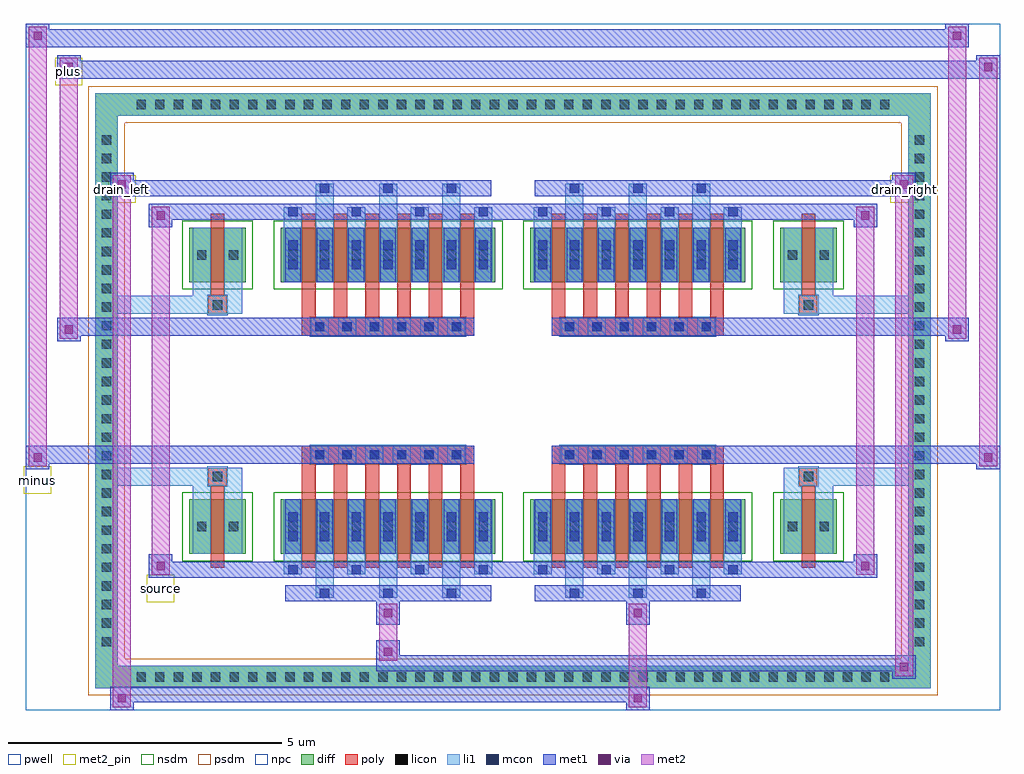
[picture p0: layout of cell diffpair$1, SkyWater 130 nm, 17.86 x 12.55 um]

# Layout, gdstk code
import gdstk
lib = gdstk.Library(unit=1e-6, precision=5e-09)
def R(c, l, rs):  # rectangles x0, y0, x1, y1
    for r in rs: c.add(gdstk.rectangle(r[:2], r[2:], *l))
def A(c, l, x, y, w, h, nx, ny, dx, dy):  # array of equal rectangles
    R(c, l, [(x+i*dx, y+j*dy, x+i*dx+w, y+j*dy+h) for i in range(nx) for j in range(ny)])
def P(c, l, *ps):  # polygons
    for p in ps: c.add(gdstk.Polygon(p, *l))
pwell = (64, 44)
diff = (65, 20)
poly = (66, 20)
licon = (66, 44)
li1 = (67, 20)
mcon = (67, 44)
met1 = (68, 20)
via = (68, 44)
met2_pin = (69, 16)
met2 = (69, 20)
nsdm = (93, 44)
psdm = (94, 20)
npc = (95, 20)

diffpair_1 = lib.new_cell('diffpair$1')
R(diffpair_1, pwell, [(-8.91,-5.84,8.91,6.71), (-6.23,-4.03,-0.01,-0.805), (0.01,-4.03,6.23,-0.805), (-6.23,0.805,-0.01,4.03), (0.01,0.805,6.23,4.03)])
A(diffpair_1, diff, -7.005, -5.44, 0.41, 0.41, 41, 2, 0.34, 10.47)
A(diffpair_1, diff, -7.64, -4.795, 0.41, 0.41, 1, 28, 0, 0.34)
A(diffpair_1, diff, 7.23, -4.795, 0.41, 0.41, 1, 28, 0, 0.34)
R(diffpair_1, diff, [(-7.005,-5.44,7.005,-5.03), (-7.64,-4.795,-7.23,4.795), (7.23,-4.795,7.64,4.795), (-5.92,-2.985,-4.89,-1.985), (-4.25,-2.985,-0.32,-1.985), (0.32,-2.985,4.25,-1.985), (4.89,-2.985,5.92,-1.985), (-5.92,1.985,-4.89,2.985), (-4.25,1.985,-0.32,2.985), (0.32,1.985,4.25,2.985), (4.89,1.985,5.92,2.985), (-7.005,5.03,7.005,5.44)])
P(diffpair_1, diff, [(7.64,5.44),(-7.64,5.44),(-7.64,-5.03),(-7.23,-5.03),(-7.23,5.03),(7.23,5.03),(7.23,-5.03),(-7.23,-5.03),(-7.64,-5.03),(-7.64,-5.44),(7.64,-5.44)])
A(diffpair_1, poly, -3.86, -3.235, 0.25, 1.5, 6, 2, 0.58, 4.97)
A(diffpair_1, poly, 0.71, -3.235, 0.25, 1.5, 6, 2, 0.58, 4.97)
A(diffpair_1, poly, -3.86, -1.735, 0.25, 0.4, 6, 2, 0.58, 3.07)
A(diffpair_1, poly, 0.71, -1.735, 0.25, 0.4, 6, 2, 0.58, 3.07)
A(diffpair_1, poly, -3.7, -1.335, 0.33, 0.33, 6, 2, 0.5, 2.34)
A(diffpair_1, poly, 0.87, -1.335, 0.33, 0.33, 6, 2, 0.5, 2.34)
R(diffpair_1, poly, [(-5.53,-3.235,-5.28,-1.735), (5.28,-3.235,5.53,-1.735), (-5.57,-1.735,-5.24,-1.405), (-5.57,-1.735,-5.24,-1.405), (5.24,-1.735,5.57,-1.405), (5.24,-1.735,5.57,-1.405), (-3.86,-1.335,-0.71,-1.005), (0.71,-1.335,3.86,-1.005), (-3.86,1.005,-0.71,1.335), (0.71,1.005,3.86,1.335), (-5.57,1.405,-5.24,1.735), (-5.57,1.405,-5.24,1.735), (5.24,1.405,5.57,1.735), (5.24,1.405,5.57,1.735), (-5.53,1.735,-5.28,3.235), (5.28,1.735,5.53,3.235)])
A(diffpair_1, licon, -6.885, -5.32, 0.17, 0.17, 41, 2, 0.34, 10.47)
A(diffpair_1, licon, -7.52, -4.675, 0.17, 0.17, 1, 28, 0, 0.34)
A(diffpair_1, licon, 7.35, -4.675, 0.17, 0.17, 1, 28, 0, 0.34)
A(diffpair_1, licon, -4.11, -2.57, 0.17, 0.17, 7, 2, 0.58, 4.97)
A(diffpair_1, licon, 0.46, -2.57, 0.17, 0.17, 7, 2, 0.58, 4.97)
A(diffpair_1, licon, -3.62, -1.255, 0.17, 0.17, 6, 2, 0.5, 2.34)
A(diffpair_1, licon, 0.95, -1.255, 0.17, 0.17, 6, 2, 0.5, 2.34)
R(diffpair_1, licon, [(-5.78,-2.57,-5.61,-2.4), (-5.2,-2.57,-5.03,-2.4), (5.03,-2.57,5.2,-2.4), (5.61,-2.57,5.78,-2.4), (-5.49,-1.655,-5.32,-1.485), (5.32,-1.655,5.49,-1.485), (-5.49,1.485,-5.32,1.655), (5.32,1.485,5.49,1.655), (-5.78,2.4,-5.61,2.57), (-5.2,2.4,-5.03,2.57), (5.03,2.4,5.2,2.57), (5.61,2.4,5.78,2.57)])
A(diffpair_1, li1, -6.965, -5.4, 0.33, 0.33, 41, 2, 0.34, 10.47)
A(diffpair_1, li1, -7.6, -4.755, 0.33, 0.33, 1, 28, 0, 0.34)
A(diffpair_1, li1, 7.27, -4.755, 0.33, 0.33, 1, 28, 0, 0.34)
A(diffpair_1, li1, -3.61, -3.79, 0.33, 0.805, 3, 2, 1.16, 6.775)
A(diffpair_1, li1, -3.53, -3.79, 0.17, 0.17, 3, 2, 1.16, 7.41)
A(diffpair_1, li1, 0.96, -3.79, 0.33, 0.805, 3, 2, 1.16, 6.775)
A(diffpair_1, li1, 1.04, -3.79, 0.17, 0.17, 3, 2, 1.16, 7.41)
A(diffpair_1, li1, -4.19, -3.36, 0.33, 0.375, 4, 2, 1.16, 6.345)
A(diffpair_1, li1, -4.11, -3.36, 0.17, 0.17, 4, 2, 1.16, 6.55)
A(diffpair_1, li1, 0.38, -3.36, 0.33, 0.375, 4, 2, 1.16, 6.345)
A(diffpair_1, li1, 0.46, -3.36, 0.17, 0.17, 4, 2, 1.16, 6.55)
A(diffpair_1, li1, -4.19, -2.985, 0.33, 1, 7, 2, 0.58, 4.97)
A(diffpair_1, li1, 0.38, -2.985, 0.33, 1, 7, 2, 0.58, 4.97)
A(diffpair_1, li1, -4.11, -2.75, 0.17, 0.17, 7, 2, 0.58, 0.36)
A(diffpair_1, li1, -4.11, -2.75, 0.17, 0.53, 7, 2, 0.58, 4.97)
A(diffpair_1, li1, 0.46, -2.75, 0.17, 0.17, 7, 2, 0.58, 0.36)
A(diffpair_1, li1, 0.46, -2.75, 0.17, 0.53, 7, 2, 0.58, 4.97)
A(diffpair_1, li1, -4.19, -2.65, 0.33, 0.33, 7, 2, 0.58, 4.97)
A(diffpair_1, li1, 0.38, -2.65, 0.33, 0.33, 7, 2, 0.58, 4.97)
A(diffpair_1, li1, -3.7, -1.335, 0.33, 0.33, 6, 2, 0.5, 2.34)
A(diffpair_1, li1, 0.87, -1.335, 0.33, 0.33, 6, 2, 0.5, 2.34)
A(diffpair_1, li1, -4.11, 2.22, 0.17, 0.17, 7, 2, 0.58, 0.36)
A(diffpair_1, li1, 0.46, 2.22, 0.17, 0.17, 7, 2, 0.58, 0.36)
R(diffpair_1, li1, [(-7.64,-5.44,-7.23,-5.03), (-7.64,-5.44,-7.23,-5.03), (-7.23,-5.44,7.23,-5.03), (7.23,-5.44,7.64,-5.03), (7.23,-5.44,7.64,-5.03), (-7.64,-5.03,-7.23,5.03), (7.23,-5.03,7.64,5.03), (-5.86,-2.985,-5.53,-1.985), (-5.28,-2.985,-4.95,-1.985), (4.95,-2.985,5.28,-1.985), (5.53,-2.985,5.86,-1.985), (-5.86,-2.65,-5.53,-2.32), (-5.28,-2.65,-4.95,-2.32), (4.95,-2.65,5.28,-2.32), (5.53,-2.65,5.86,-2.32), (-5.86,-1.985,-5.53,-1.405), (-5.28,-1.985,-4.95,-1.405), (4.95,-1.985,5.28,-1.405), (5.53,-1.985,5.86,-1.405), (-7.64,-1.735,-5.57,-1.405), (-5.86,-1.735,-5.57,-1.405), (-5.57,-1.735,-5.24,-1.405), (-5.24,-1.735,-4.95,-1.405), (4.95,-1.735,5.24,-1.405), (5.24,-1.735,5.57,-1.405), (5.24,-1.735,7.64,-1.405), (5.57,-1.735,5.86,-1.405), (-7.64,1.405,-5.57,1.735), (-5.86,1.405,-5.57,1.735), (-5.86,1.405,-5.53,1.985), (-5.57,1.405,-5.24,1.735), (-5.28,1.405,-4.95,1.985), (-5.24,1.405,-4.95,1.735), (4.95,1.405,5.24,1.735), (4.95,1.405,5.28,1.985), (5.24,1.405,5.57,1.735), (5.24,1.405,7.64,1.735), (5.53,1.405,5.86,1.985), (5.57,1.405,5.86,1.735), (-5.86,1.985,-5.53,2.985), (-5.28,1.985,-4.95,2.985), (4.95,1.985,5.28,2.985), (5.53,1.985,5.86,2.985), (-5.86,2.32,-5.53,2.65), (-5.28,2.32,-4.95,2.65), (4.95,2.32,5.28,2.65), (5.53,2.32,5.86,2.65), (-7.64,5.03,-7.23,5.44), (-7.64,5.03,-7.23,5.44), (-7.23,5.03,7.23,5.44), (7.23,5.03,7.64,5.44), (7.23,5.03,7.64,5.44)])
A(diffpair_1, mcon, -3.53, -3.79, 0.17, 0.17, 3, 2, 1.16, 7.41)
A(diffpair_1, mcon, 1.04, -3.79, 0.17, 0.17, 3, 2, 1.16, 7.41)
A(diffpair_1, mcon, -4.11, -3.36, 0.17, 0.17, 4, 2, 1.16, 6.55)
A(diffpair_1, mcon, 0.46, -3.36, 0.17, 0.17, 4, 2, 1.16, 6.55)
A(diffpair_1, mcon, -4.11, -2.75, 0.17, 0.17, 7, 2, 0.58, 0.36)
A(diffpair_1, mcon, 0.46, -2.75, 0.17, 0.17, 7, 2, 0.58, 0.36)
A(diffpair_1, mcon, -3.62, -1.255, 0.17, 0.17, 6, 2, 0.5, 2.34)
A(diffpair_1, mcon, 0.95, -1.255, 0.17, 0.17, 6, 2, 0.5, 2.34)
A(diffpair_1, mcon, -4.11, 2.22, 0.17, 0.17, 7, 2, 0.58, 0.36)
A(diffpair_1, mcon, 0.46, 2.22, 0.17, 0.17, 7, 2, 0.58, 0.36)
A(diffpair_1, met1, -3.59, -3.85, 0.29, 0.29, 3, 2, 1.16, 7.41)
A(diffpair_1, met1, 0.98, -3.85, 0.29, 0.29, 3, 2, 1.16, 7.41)
A(diffpair_1, met1, -4.17, -3.42, 0.29, 0.29, 4, 2, 1.16, 6.55)
A(diffpair_1, met1, 0.4, -3.42, 0.29, 0.29, 4, 2, 1.16, 6.55)
A(diffpair_1, met1, -4.17, -2.985, 0.29, 1, 7, 2, 0.58, 4.97)
A(diffpair_1, met1, 0.4, -2.985, 0.29, 1, 7, 2, 0.58, 4.97)
A(diffpair_1, met1, -4.17, -2.81, 0.29, 0.29, 7, 2, 0.58, 0.36)
A(diffpair_1, met1, 0.4, -2.81, 0.29, 0.29, 7, 2, 0.58, 0.36)
A(diffpair_1, met1, -3.68, -1.315, 0.29, 0.29, 6, 2, 0.5, 2.34)
A(diffpair_1, met1, 0.89, -1.315, 0.29, 0.29, 6, 2, 0.5, 2.34)
A(diffpair_1, met1, -4.17, 2.16, 0.29, 0.29, 7, 2, 0.58, 0.36)
A(diffpair_1, met1, 0.4, 2.16, 0.29, 0.29, 7, 2, 0.58, 0.36)
R(diffpair_1, met1, [(-7.37,-5.84,-6.94,-5.41), (2.07,-5.84,2.5,-5.41), (-7.37,-5.7,2.5,-5.41), (6.94,-5.27,7.37,-4.84), (-2.5,-5.13,7.37,-4.84), (-2.5,-4.99,-2.07,-4.56), (-2.5,-4.28,-2.07,-3.85), (2.07,-4.28,2.5,-3.85), (-4.17,-3.85,-0.4,-3.56), (0.4,-3.85,4.17,-3.56), (-6.66,-3.42,-6.23,-2.99), (-6.66,-3.42,-4.17,-3.13), (-4.17,-3.42,-0.4,-3.13), (-0.4,-3.42,0.4,-3.13), (0.4,-3.42,4.17,-3.13), (4.17,-3.42,6.66,-3.13), (6.23,-3.42,6.66,-2.99), (-8.91,-1.435,-8.48,-1.005), (8.48,-1.435,8.91,-1.005), (-8.91,-1.335,-0.71,-1.005), (-3.86,-1.335,-0.71,-1.005), (0.71,-1.335,3.86,-1.005), (0.71,-1.335,8.91,-1.005), (-8.34,0.905,-7.91,1.335), (7.91,0.905,8.34,1.335), (-8.34,1.005,-3.86,1.335), (-3.86,1.005,-0.71,1.335), (0.71,1.005,3.86,1.335), (3.86,1.005,8.34,1.335), (-6.66,2.99,-6.23,3.42), (6.23,2.99,6.66,3.42), (-6.66,3.13,-4.17,3.42), (-4.17,3.13,-0.4,3.42), (-0.4,3.13,0.4,3.42), (0.4,3.13,4.17,3.42), (4.17,3.13,6.66,3.42), (-7.37,3.56,-6.94,3.99), (-7.37,3.56,-4.17,3.85), (-4.17,3.56,-0.4,3.85), (0.4,3.56,4.17,3.85), (4.17,3.56,7.37,3.85), (6.94,3.56,7.37,3.99), (-8.34,5.71,-7.91,6.14), (-8.34,5.71,-6.23,6.04), (-6.23,5.71,6.23,6.04), (6.23,5.71,8.91,6.04), (8.48,5.71,8.91,6.14), (-8.91,6.28,-8.48,6.71), (-8.91,6.28,-6.23,6.61), (-6.23,6.28,6.23,6.61), (6.23,6.28,8.34,6.61), (7.91,6.28,8.34,6.71)])
R(diffpair_1, via, [(-7.23,-5.7,-7.08,-5.55), (2.21,-5.7,2.36,-5.55), (7.08,-5.13,7.23,-4.98), (-2.36,-4.85,-2.21,-4.7), (-2.36,-4.14,-2.21,-3.99), (2.21,-4.14,2.36,-3.99), (-6.52,-3.28,-6.37,-3.13), (6.37,-3.28,6.52,-3.13), (-8.77,-1.295,-8.62,-1.145), (8.62,-1.295,8.77,-1.145), (-8.2,1.045,-8.05,1.195), (8.05,1.045,8.2,1.195), (-6.52,3.13,-6.37,3.28), (6.37,3.13,6.52,3.28), (-7.23,3.7,-7.08,3.85), (7.08,3.7,7.23,3.85), (-8.2,5.85,-8.05,6), (8.62,5.85,8.77,6), (-8.77,6.42,-8.62,6.57), (8.05,6.42,8.2,6.57)])
R(diffpair_1, met2_pin, [(-6.695,-3.87,-6.195,-3.37), (-8.945,-1.885,-8.445,-1.385), (-7.405,3.44,-6.905,3.94), (6.905,3.44,7.405,3.94), (-8.375,5.59,-7.875,6.09)])
R(diffpair_1, met2, [(-7.32,-5.79,-6.99,-5.46), (-7.32,-5.79,-6.99,3.94), (2.12,-5.79,2.45,-5.46), (2.12,-5.46,2.45,-4.23), (6.99,-5.22,7.32,-4.89), (6.99,-5.22,7.32,3.94), (-2.45,-4.94,-2.12,-4.61), (-2.45,-4.61,-2.12,-4.23), (-2.45,-4.23,-2.12,-3.9), (2.12,-4.23,2.45,-3.9), (-6.61,-3.37,-6.28,-3.04), (-6.61,-3.37,-6.28,3.37), (6.28,-3.37,6.61,-3.04), (6.28,-3.37,6.61,3.37), (-8.86,-1.385,-8.53,-1.055), (-8.86,-1.385,-8.53,6.66), (8.53,-1.385,8.86,-1.055), (8.53,-1.385,8.86,6.09), (-8.29,0.955,-7.96,1.285), (-8.29,0.955,-7.96,6.09), (7.96,0.955,8.29,1.285), (7.96,0.955,8.29,6.66), (-6.61,3.04,-6.28,3.37), (6.28,3.04,6.61,3.37), (-7.32,3.61,-6.99,3.94), (6.99,3.61,7.32,3.94), (-8.29,5.76,-7.96,6.09), (8.53,5.76,8.86,6.09), (-8.86,6.33,-8.53,6.66), (7.96,6.33,8.29,6.66)])
P(diffpair_1, met2, [(8.86,-1.385),(8.86,-1.385),(8.86,-1.055),(8.86,-1.055)],
  [(8.86,5.76),(8.86,5.76),(8.86,6.09),(8.86,6.09)],
  [(-8.53,-1.385),(-8.53,-1.385),(-8.53,-1.055),(-8.53,-1.055)],
  [(-8.53,6.33),(-8.53,6.33),(-8.53,6.66),(-8.53,6.66)],
  [(8.29,0.955),(8.29,0.955),(8.29,1.285),(8.29,1.285)],
  [(8.29,6.33),(8.29,6.33),(8.29,6.66),(8.29,6.66)],
  [(-7.96,0.955),(-7.96,0.955),(-7.96,1.285),(-7.96,1.285)],
  [(-7.96,5.76),(-7.96,5.76),(-7.96,6.09),(-7.96,6.09)],
  [(-6.99,-5.79),(-6.99,-5.79),(-6.99,-5.46),(-6.99,-5.46)],
  [(-6.99,3.61),(-6.99,3.61),(-6.99,3.94),(-6.99,3.94)],
  [(7.32,-5.22),(7.32,-5.22),(7.32,-4.89),(7.32,-4.89)],
  [(7.32,3.61),(7.32,3.61),(7.32,3.94),(7.32,3.94)],
  [(-6.28,-3.37),(-6.28,-3.37),(-6.28,-3.04),(-6.28,-3.04)],
  [(-6.28,3.04),(-6.28,3.04),(-6.28,3.37),(-6.28,3.37)],
  [(6.61,-3.37),(6.61,-3.37),(6.61,-3.04),(6.61,-3.04)],
  [(6.61,3.04),(6.61,3.04),(6.61,3.37),(6.61,3.37)])
R(diffpair_1, nsdm, [(-6.05,-3.115,-4.76,-1.855), (-4.38,-3.115,-0.19,-1.855), (0.19,-3.115,4.38,-1.855), (4.76,-3.115,6.05,-1.855), (-6.05,1.855,-4.76,3.115), (-4.38,1.855,-0.19,3.115), (0.19,1.855,4.38,3.115), (4.76,1.855,6.05,3.115)])
P(diffpair_1, psdm, [(7.77,5.57),(-7.77,5.57),(-7.77,-4.9),(-7.1,-4.9),(-7.1,4.9),(7.1,4.9),(7.1,-4.9),(-7.1,-4.9),(-7.77,-4.9),(-7.77,-5.57),(7.77,-5.57)])
A(diffpair_1, npc, -3.72, -1.355, 0.37, 0.37, 6, 2, 0.5, 2.34)
A(diffpair_1, npc, 0.85, -1.355, 0.37, 0.37, 6, 2, 0.5, 2.34)
R(diffpair_1, npc, [(-5.59,-1.755,-5.22,-1.385), (5.22,-1.755,5.59,-1.385), (-3.72,-1.355,-2.85,-0.985), (-3.72,-1.355,-2.85,-0.985), (-3.22,-1.355,-2.35,-0.985), (-3.22,-1.355,-2.35,-0.985), (-2.72,-1.355,-1.85,-0.985), (-2.72,-1.355,-1.85,-0.985), (-2.22,-1.355,-1.35,-0.985), (-2.22,-1.355,-1.35,-0.985), (-1.72,-1.355,-0.85,-0.985), (-1.72,-1.355,-0.85,-0.985), (0.85,-1.355,1.72,-0.985), (0.85,-1.355,1.72,-0.985), (1.35,-1.355,2.22,-0.985), (1.35,-1.355,2.22,-0.985), (1.85,-1.355,2.72,-0.985), (1.85,-1.355,2.72,-0.985), (2.35,-1.355,3.22,-0.985), (2.35,-1.355,3.22,-0.985), (2.85,-1.355,3.72,-0.985), (2.85,-1.355,3.72,-0.985), (-3.72,0.985,-2.85,1.355), (-3.72,0.985,-2.85,1.355), (-3.22,0.985,-2.35,1.355), (-3.22,0.985,-2.35,1.355), (-2.72,0.985,-1.85,1.355), (-2.72,0.985,-1.85,1.355), (-2.22,0.985,-1.35,1.355), (-2.22,0.985,-1.35,1.355), (-1.72,0.985,-0.85,1.355), (-1.72,0.985,-0.85,1.355), (0.85,0.985,1.72,1.355), (0.85,0.985,1.72,1.355), (1.35,0.985,2.22,1.355), (1.35,0.985,2.22,1.355), (1.85,0.985,2.72,1.355), (1.85,0.985,2.72,1.355), (2.35,0.985,3.22,1.355), (2.35,0.985,3.22,1.355), (2.85,0.985,3.72,1.355), (2.85,0.985,3.72,1.355), (-5.59,1.385,-5.22,1.755), (5.22,1.385,5.59,1.755)])
diffpair_1.add(gdstk.Label('minus', (-8.695,-1.635), layer=69, texttype=5))
diffpair_1.add(gdstk.Label('drain_right', (7.155,3.69), layer=69, texttype=5))
diffpair_1.add(gdstk.Label('drain_left', (-7.155,3.69), layer=69, texttype=5))
diffpair_1.add(gdstk.Label('source', (-6.445,-3.62), layer=69, texttype=5))
diffpair_1.add(gdstk.Label('plus', (-8.125,5.84), layer=69, texttype=5))

lib.write_gds('diffpair_1.gds')
